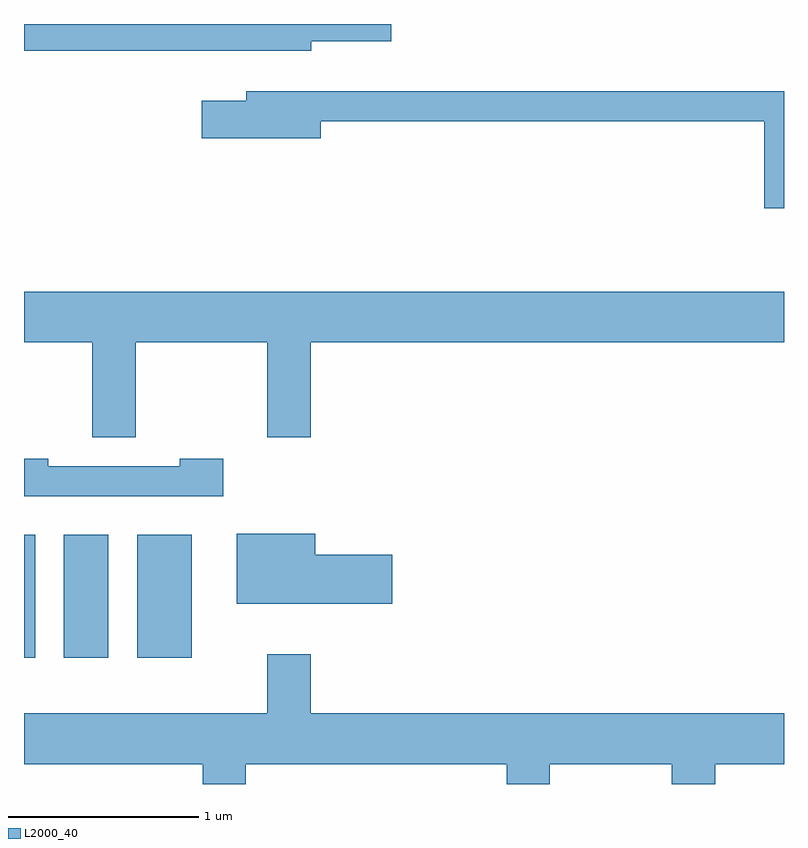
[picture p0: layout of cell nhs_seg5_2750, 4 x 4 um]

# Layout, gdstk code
import gdstk
lib = gdstk.Library(unit=1e-6, precision=1e-09)
def R(c, l, rs):  # rectangles x0, y0, x1, y1
    for r in rs: c.add(gdstk.rectangle(r[:2], r[2:], *l))
def P(c, l, *ps):  # polygons
    for p in ps: c.add(gdstk.Polygon(p, *l))
L2000_40 = (2000, 40)

nhs_seg5_2750 = lib.new_cell('nhs_seg5_2750')
R(nhs_seg5_2750, L2000_40, [(267.611,1410.736,267.669,1411.384), (267.821,1410.736,268.054,1411.384), (268.206,1410.736,268.494,1411.384)])
P(nhs_seg5_2750, L2000_40, [(269.124,1413.981),(269.544,1413.981),(269.544,1414.072),(267.611,1414.072),(267.611,1413.931),(269.124,1413.931)],
  [(271.611,1413.719),(268.781,1413.719),(268.781,1413.669),(268.546,1413.669),(268.546,1413.471),(269.174,1413.471),(269.174,1413.561),(271.506,1413.561),(271.506,1413.101),(271.611,1413.101)],
  [(268.199,1412.396),(268.891,1412.396),(268.891,1411.896),(269.119,1411.896),(269.119,1412.396),(271.611,1412.396),(271.611,1412.664),(267.611,1412.664),(267.611,1412.396),(267.971,1412.396),(267.971,1411.896),(268.199,1411.896)],
  [(268.659,1411.784),(268.431,1411.784),(268.431,1411.744),(267.739,1411.744),(267.739,1411.784),(267.611,1411.784),(267.611,1411.586),(268.659,1411.586)],
  [(269.549,1411.279),(269.144,1411.279),(269.144,1411.389),(268.731,1411.389),(268.731,1411.021),(269.549,1411.021)],
  [(268.779,1410.176),(270.151,1410.176),(270.151,1410.072),(270.379,1410.072),(270.379,1410.176),(271.021,1410.176),(271.021,1410.072),(271.249,1410.072),(271.249,1410.176),(271.611,1410.176),(271.611,1410.444),(269.119,1410.444),(269.119,1410.754),(268.891,1410.754),(268.891,1410.444),(267.611,1410.444),(267.611,1410.176),(268.551,1410.176),(268.551,1410.072),(268.779,1410.072)])

lib.write_gds('nhs_seg5_2750.gds')
